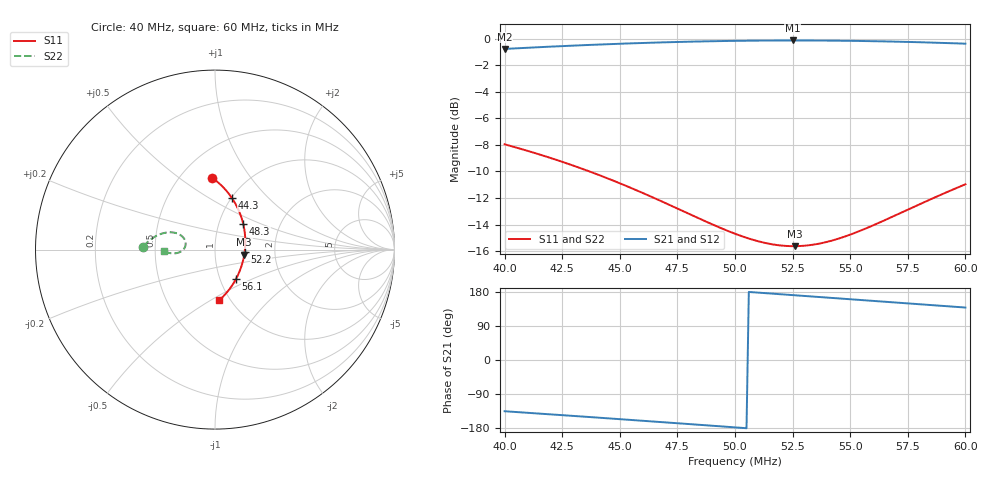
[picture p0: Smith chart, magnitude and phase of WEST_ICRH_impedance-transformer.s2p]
! Touchstone file from project WEST_ICRH_final_bridge_impedance-trans
! Exported from HFSS 15.0.3
!Data is not renormalized
# GHZ S MA
! Modal data exported
! Port[1] = 1:1
! Port[2] = 2:1
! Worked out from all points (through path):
!   201 points, 40 MHz to 60 MHz, reference per port
!   highest |S21| = -0.14 dB at 52.5 MHz (marker M1); lowest = -0.8 dB at 40 MHz (marker M2)
!   lowest |S11| = -15.6 dB at 52.6 MHz (marker M3), VSWR 1.40
!   |S11| at or under -10 dB: 43.69 MHz to end of sweep
!   |S22| runs from -15.6 to -8.0 dB; largest |S21 - S12| = 1.7e-14
!   S11 on the Smith chart (normalised r, x): 40 MHz: 0.71, +0.67; 44.3 MHz: 1.01, +0.64; 48.3 MHz: 1.31, +0.39; 52.2 MHz: 1.40, -0.03; 56.1 MHz: 1.19, -0.40; 60 MHz: 0.89, -0.55
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0.04  0.4002 92.2  0.915 -135.2  0.915 -135.2  0.3995 177.5
! Gamma ! 0.000125960895878941 0.838463990918997 0.000636319656439205 0.838975208311349
! Port Impedance 40.0203069646831 -0.00599663613916703 5.89109797001898 -0.00429714269172183
0.0417  0.3622 84.9  0.9306 -142.2  0.9306 -142.2  0.3617 170.9
0.0434  0.3229 76.6  0.9449 -149.3  0.9449 -149.3  0.3225 165.0
0.0443  0.3019 71.7  0.9518 -153.1  0.9518 -153.1  0.3015 162.3
0.0455  0.2739 64.4  0.9602 -158.2  0.9602 -158.2  0.2736 159.4
0.0467  0.2466 56.0  0.9675 -163.4  0.9675 -163.4  0.2465 157.5
0.0475  0.2293 49.6  0.9718 -166.9  0.9718 -166.9  0.2293 156.9
0.0483  0.2131 42.5  0.9754 -170.3  0.9754 -170.3  0.2132 157.0
0.0492  0.1967 33.5  0.9788 -174.3  0.9788 -174.3  0.1969 158.1
0.05  0.1844 24.6  0.9812 -177.8  0.9812 -177.8  0.1846 160.0
0.0506  0.1768 17.3  0.9826 179.6  0.9826 179.6  0.1771 162.0
0.0512  0.171 9.5  0.9836 176.9  0.9836 176.9  0.1714 164.5
0.0522  0.1659 -4.2  0.9845 172.5  0.9845 172.5  0.1663 169.3
0.0525  0.1655 -8.4  0.9845 171.2  0.9845 171.2  0.1659 170.9
0.0526  0.1655 -9.8  0.9845 170.8  0.9845 170.8  0.1659 171.4
0.0534  0.1677 -20.9  0.9842 167.2  0.9842 167.2  0.1682 175.4
0.054  0.1718 -29.0  0.9834 164.6  0.9834 164.6  0.1723 178.2
0.0546  0.1779 -36.7  0.9824 161.9  0.9824 161.9  0.1783 -179.4
0.0561  0.2 -53.8  0.9781 155.4  0.9781 155.4  0.2004 -175.5
0.0567  0.211 -59.7  0.9758 152.7  0.9758 152.7  0.2113 -174.9
0.0584  0.2465 -74.1  0.9674 145.3  0.9674 145.3  0.2466 -175.3
0.06  0.283 -85.1  0.9574 138.4  0.9574 138.4  0.2829 -178.1
